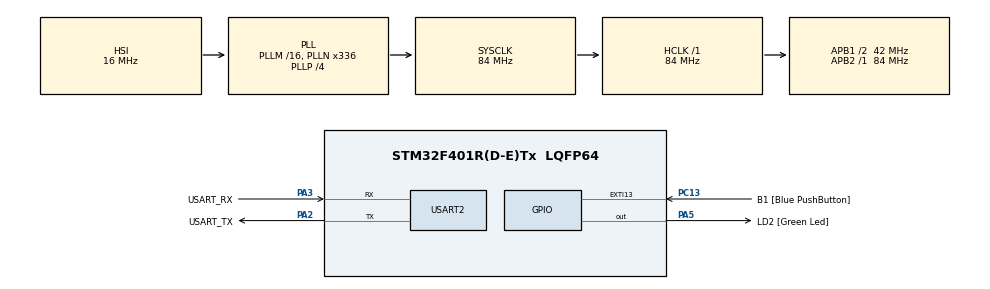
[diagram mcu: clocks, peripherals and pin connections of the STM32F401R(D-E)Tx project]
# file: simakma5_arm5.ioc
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Mcu.Family=STM32F4
Mcu.Name=STM32F401R(D-E)Tx
Mcu.Package=LQFP64
NVIC.PriorityGroup=NVIC_PRIORITYGROUP_0
PA13.GPIO_Label=TMS
PA13.Mode=Serial_Wire
PA13.Signal=SYS_JTMS-SWDIO
PA14.GPIO_Label=TCK
PA14.Mode=Serial_Wire
PA14.Signal=SYS_JTCK-SWCLK
PA2.GPIO_Label=USART_TX
PA2.GPIO_Mode=GPIO_MODE_AF_PP
PA2.GPIO_PuPd=GPIO_NOPULL
PA2.GPIO_Speed=GPIO_SPEED_FREQ_LOW
PA2.Mode=Asynchronous
PA2.Signal=USART2_TX
PA3.GPIO_Label=USART_RX
PA3.GPIO_Mode=GPIO_MODE_AF_PP
PA3.GPIO_PuPd=GPIO_NOPULL
PA3.GPIO_Speed=GPIO_SPEED_FREQ_LOW
PA3.Mode=Asynchronous
PA3.Signal=USART2_RX
PA5.GPIO_Label=LD2 [Green Led]
PA5.GPIO_Mode=GPIO_MODE_OUTPUT_PP
PA5.GPIO_PuPd=GPIO_NOPULL
PA5.GPIO_Speed=GPIO_SPEED_FREQ_LOW
PA5.Signal=GPIO_Output
PB3.GPIO_Label=SWO
PB3.Signal=SYS_JTDO-SWO
PC13-ANTI_TAMP.GPIO_Label=B1 [Blue PushButton]
PC13-ANTI_TAMP.GPIO_ModeDefaultEXTI=GPIO_MODE_IT_FALLING
PC13-ANTI_TAMP.GPIO_PuPd=GPIO_NOPULL
PC13-ANTI_TAMP.Signal=GPXTI13
PC14-OSC32_IN.Mode=LSE-External-Oscillator
PC14-OSC32_IN.Signal=RCC_OSC32_IN
PC15-OSC32_OUT.Mode=LSE-External-Oscillator
PC15-OSC32_OUT.Signal=RCC_OSC32_OUT
PH0\ -\ OSC_IN.Mode=HSE-External-Clock-Source
PH0\ -\ OSC_IN.Signal=RCC_OSC_IN
PH1\ -\ OSC_OUT.Mode=HSE-External-Clock-Source
PH1\ -\ OSC_OUT.Signal=RCC_OSC_OUT
ProjectManager.HeapSize=0x200
ProjectManager.StackSize=0x400
ProjectManager.TargetToolchain=STM32CubeIDE
RCC.48MHZClocksFreq_Value=48000000
RCC.AHBFreq_Value=84000000
RCC.APB1CLKDivider=RCC_HCLK_DIV2
RCC.APB1Freq_Value=42000000
RCC.APB1TimFreq_Value=84000000
RCC.APB2Freq_Value=84000000
RCC.APB2TimFreq_Value=84000000
RCC.CortexFreq_Value=84000000
RCC.HCLKFreq_Value=84000000
RCC.HSE_VALUE=8000000
RCC.HSI_VALUE=16000000
RCC.PLLN=336
RCC.PLLP=RCC_PLLP_DIV4
RCC.PLLQ=7
RCC.SYSCLKFreq_VALUE=84000000
RCC.SYSCLKSource=RCC_SYSCLKSOURCE_PLLCLK
RCC.VCOOutputFreq_Value=336000000
USART2.VirtualMode=VM_ASYNC
board=NUCLEO-F401RE

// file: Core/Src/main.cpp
/* USER CODE BEGIN Header */
/**
  ******************************************************************************
  * @file           : main.c
  * @brief          : Main program body
  ******************************************************************************
  * @attention
  *
  * Copyright (c) 2023 STMicroelectronics.
  * All rights reserved.
  *
  * This software is licensed under terms that can be found in the LICENSE file
  * in the root directory of this software component.
  * If no LICENSE file comes with this software, it is provided AS-IS.
  *
  ******************************************************************************
  */
/* USER CODE END Header */
#include "main.h"

/* USER CODE BEGIN Includes */
#include "lib.hpp"
/* USER CODE END Includes */

/* USER CODE BEGIN PD */
#define Vref		3.315	// reference voltage for ADC
#define ADC_period	500		// period of ADC conversion (ms)
/* USER CODE END PD */

UART_HandleTypeDef huart2;

/* USER CODE BEGIN PV */
volatile uint8_t data_7seg[4] = {0xFF, 0xFF, 0xFF, 0xFF};
	// data_7seg[0]	= naught digit (left)
	// data_7seg[1]	= first digit
	// data_7seg[2]	= second digit
	// data_7seg[3]	= third digit
volatile uint16_t ADC_data = 0;
	// ADC_data[15] = flag for finished conversion (new data)
	// ADC_data[0:11] = data from ADC

uint8_t dataTo7Seg[16] = {
	0b00000011,	// 0
	0b10011111,	// 1
	0b00100101,	// 2
	0b00001101,	// 3
	0b10011001,	// 4
	0b01001001,	// 5
	0b01000001,	// 6
	0b00011111,	// 7
	0b00000001,	// 8
	0b00001001,	// 9
	0b11111111,	// 10
	0b11111111,	// 11
	0b11111111,	// 12
	0b11111111,	// 13
	0b11111111,	// 14
	0b11111111	// 15
};
/* USER CODE END PV */

void SystemClock_Config(void);
static void MX_GPIO_Init(void);
static void MX_USART2_UART_Init(void);
/* USER CODE BEGIN PFP */
static void TIM3_Init(void);
extern "C" void TIM3_IRQHandler();
static void TIM2_Init(void);
static void ADC1_Init(void);
extern "C" void ADC_IRQHandler();
static void USART2_Init(void);
uint8_t USART2_read();
void USART2_write(uint8_t Char);
/* USER CODE END PFP */

int main(void)
{

  /* MCU Configuration--------------------------------------------------------*/

  /* Reset of all peripherals, Initializes the Flash interface and the Systick. */
  HAL_Init();

  /* Configure the system clock */
  SystemClock_Config();

  /* Initialize all configured peripherals */
  MX_GPIO_Init();
  MX_USART2_UART_Init();
  /* USER CODE BEGIN 2 */

  	/* Pin layout */
	// 7seg display:
	//	PA9	- data
	//	PA8	- clock
	//	PB5	- strobe
	//
	// UART:
	// 	PA2	- Tx
	//	PA3	- Rx
	//
	// ADC:
	//	PA0 - ADC
	//

	//	allow clock for GPIOA, GPIOB, USART2, TIM3, TIM2, ADC1
	RCC->AHB1ENR |= (0b1 << 0) | (0b1 << 1);				// GPIOA, GPIOB
	RCC->APB1ENR |= (0b1 << 0) | (0b1 << 1) | (0b1 << 17);	// TIM2, TIM3, USART2
	RCC->APB2ENR |= (0b1 << 8);								// ADC1

	// set CP10 and CP11 Full Access
	SCB->CPACR |= ((3UL << 10*2)|(3UL << 11*2));

  	/* GPIOx init */
	// GPIOA pins for display control
	setPinMode(GPIOA, 9, OUTPUT);	// PA9 - data
	setPinMode(GPIOA, 8, OUTPUT);	// PA8 - clock
	setPinMode(GPIOB, 5, OUTPUT);	// PB5 - strobe
	// GPIOA pins for UART communication
	setPinMode(GPIOA, 2, ALTERNATE);	// PA2 - Tx
	setPinMode(GPIOA, 3, ALTERNATE);	// PA3 - Rx
	setAlternateFunction(GPIOA, 2, 7);	// PA2 -> AF7 (USART2_TX)
	setAlternateFunction(GPIOA, 3, 7);	// PA3 -> AF7 (USART2_RX)
	// PA0 pin for ADC
	setPinMode(GPIOA, 0, ANALOG);		// PA0 - ADC
	// PA5 LED for debugging purposes
	setPinMode(GPIOA, 5, OUTPUT);

	TIM3_Init();
	TIM2_Init();

	/* ADC1 init */
	// 12bit, single conversion + trigger from TIM2 TRGO
	// APB2 Peripherals clock: 84MHz
	// max ADC clock: 36MHz -> 84MHz/4 = f_ADC = 21MHz
	// t_ADC ≈ 47.62 ns
	// t_sample = <0.1; 16> us	=>	(2.1; 336) cycles
	// SMPx -> 3/15/28/56/84/112/144/144 cycles
	// SMPx = 001 (15 cycles, 0.71 us)
	// SMPx = 010 (28 cycles, 1.33 us)
	ADC1_Init();

	/* USART2 init */
	// baud rate: 9600
	// data bits: 8
	// stop bits: 1
	// oversampling: 8
	// --> BRR = 42.000.000/(8*9.600) = 546.875
	USART2_Init();
  /* USER CODE END 2 */

  /* Infinite loop */
  while (1)
  {
	  if(getbit(ADC_data, 15)) {		// flag set = new data in ADC_data
		ADC_data &= 0xFFF;				// clear ADC_data flag, leaves 12 bits of data after conversion
		float mV_f = (float)ADC_data * (Vref / 4095.0) * 1000.0;	// 4095.0 = 2^12 - 1 where 12 is ADC1 resolution
																	// 1000.0 for conversion to mV
		uint16_t mV = (uint16_t)mV_f;	// whole number mV_f
		uint16_t BCD = 0;

		for(uint i=0; i<16; i++) {			// binary to BCD conversion
			/* decimal pre-correction */
			if( (BCD & 0x000F) > 0x0004 ) {	// decimal pre-correction of the naught digit (units)
				BCD += 0x0003;
			}
			if( (BCD & 0x00F0) > 0x0040) {	// decimal pre-correction of the first digit (tens)
				BCD += 0x0030;
			}
			if( (BCD & 0x0F00) > 0x0400) {	// decimal pre-correction of the second (hundreds)
				BCD += 0x0300;
			}
			BCD = (BCD << 1) | ((mV >> (15-i)) & 0b1);	// posuň BCD o jednu + nastav spodní bit na horní bit mV_f
		}

		// divide BCD into parts and sort them (index 0 = thousands of mV)
		uint8_t chars[4] = {0};
		for(uint i=0; i<4; i++) chars[3-i] = (BCD >> (4*i)) & 0b1111;

		// BCD to data_7seg conversion
		for(uint i=0; i<4; i++) data_7seg[i] = dataTo7Seg[chars[i]];

		// enable H segment
		data_7seg[0] &= ~(0b1);

		// BCD to ASCII conversion
		for(uint i=0; i<4; i++) chars[i] += 48;

		// send measured voltage to USART
		USART2_write(chars[0]);
		USART2_write('.');
		USART2_write(chars[1]);
		USART2_write(chars[2]);
		USART2_write(chars[3]);
		USART2_write(' ');
		USART2_write('V');
		USART2_write('\n');
	}
  }
}

void SystemClock_Config(void)
{
  RCC_OscInitTypeDef RCC_OscInitStruct = {0};
  RCC_ClkInitTypeDef RCC_ClkInitStruct = {0};

  /** Configure the main internal regulator output voltage
  */
  __HAL_RCC_PWR_CLK_ENABLE();
  __HAL_PWR_VOLTAGESCALING_CONFIG(PWR_REGULATOR_VOLTAGE_SCALE2);

  /** Initializes the RCC Oscillators according to the specified parameters
  * in the RCC_OscInitTypeDef structure.
  */
  RCC_OscInitStruct.OscillatorType = RCC_OSCILLATORTYPE_HSI;
  RCC_OscInitStruct.HSIState = RCC_HSI_ON;
  RCC_OscInitStruct.HSICalibrationValue = RCC_HSICALIBRATION_DEFAULT;
  RCC_OscInitStruct.PLL.PLLState = RCC_PLL_ON;
  RCC_OscInitStruct.PLL.PLLSource = RCC_PLLSOURCE_HSI;
  RCC_OscInitStruct.PLL.PLLM = 16;
  RCC_OscInitStruct.PLL.PLLN = 336;
  RCC_OscInitStruct.PLL.PLLP = RCC_PLLP_DIV4;
  RCC_OscInitStruct.PLL.PLLQ = 7;
  if (HAL_RCC_OscConfig(&RCC_OscInitStruct) != HAL_OK)
  {
    Error_Handler();
  }

  /** Initializes the CPU, AHB and APB buses clocks
  */
  RCC_ClkInitStruct.ClockType = RCC_CLOCKTYPE_HCLK|RCC_CLOCKTYPE_SYSCLK
                              |RCC_CLOCKTYPE_PCLK1|RCC_CLOCKTYPE_PCLK2;
  RCC_ClkInitStruct.SYSCLKSource = RCC_SYSCLKSOURCE_PLLCLK;
  RCC_ClkInitStruct.AHBCLKDivider = RCC_SYSCLK_DIV1;
  RCC_ClkInitStruct.APB1CLKDivider = RCC_HCLK_DIV2;
  RCC_ClkInitStruct.APB2CLKDivider = RCC_HCLK_DIV1;

  if (HAL_RCC_ClockConfig(&RCC_ClkInitStruct, FLASH_LATENCY_2) != HAL_OK)
  {
    Error_Handler();
  }
}

static void MX_USART2_UART_Init(void)
{

  huart2.Instance = USART2;
  huart2.Init.BaudRate = 115200;
  huart2.Init.WordLength = UART_WORDLENGTH_8B;
  huart2.Init.StopBits = UART_STOPBITS_1;
  huart2.Init.Parity = UART_PARITY_NONE;
  huart2.Init.Mode = UART_MODE_TX_RX;
  huart2.Init.HwFlowCtl = UART_HWCONTROL_NONE;
  huart2.Init.OverSampling = UART_OVERSAMPLING_16;
  if (HAL_UART_Init(&huart2) != HAL_OK)
  {
    Error_Handler();
  }

}

static void MX_GPIO_Init(void)
{
  GPIO_InitTypeDef GPIO_InitStruct = {0};

  /* GPIO Ports Clock Enable */
  __HAL_RCC_GPIOC_CLK_ENABLE();
  __HAL_RCC_GPIOH_CLK_ENABLE();
  __HAL_RCC_GPIOA_CLK_ENABLE();
  __HAL_RCC_GPIOB_CLK_ENABLE();

  /*Configure GPIO pin Output Level */
  HAL_GPIO_WritePin(LD2_GPIO_Port, LD2_Pin, GPIO_PIN_RESET);

  /*Configure GPIO pin : B1_Pin */
  GPIO_InitStruct.Pin = B1_Pin;
  GPIO_InitStruct.Mode = GPIO_MODE_IT_FALLING;
  GPIO_InitStruct.Pull = GPIO_NOPULL;
  HAL_GPIO_Init(B1_GPIO_Port, &GPIO_InitStruct);

  /*Configure GPIO pin : LD2_Pin */
  GPIO_InitStruct.Pin = LD2_Pin;
  GPIO_InitStruct.Mode = GPIO_MODE_OUTPUT_PP;
  GPIO_InitStruct.Pull = GPIO_NOPULL;
  GPIO_InitStruct.Speed = GPIO_SPEED_FREQ_LOW;
  HAL_GPIO_Init(LD2_GPIO_Port, &GPIO_InitStruct);

}

/* USER CODE BEGIN 4 */
// initialize TIM3 as a strobe clock
void TIM3_Init(void) {
	TIM3->DIER |= (0b1 << 0);	// interrupt enable
	TIM3->PSC = 0;				// prescaler value (f_TIM3 = 84 MHz)
	TIM3->CNT = 0;
	TIM3->ARR = 499;			// counter overflow with frequency (84*10^6)/([PSC+1]*[ARR+1]), currently 168kHz
	TIM3->CR1 |= (0b1 << 0);	// enable  TIM3
	TIM3->EGR |= (0b1 << 0); 	// update counter registers
	NVIC_EnableIRQ(TIM3_IRQn);
}

// strobe function
void TIM3_IRQHandler() {
	static uint digit = 0;		// segment choice (0 to 3)
	static uint count = 0;		// transmitted bit count (0 to 15)
	static uint16_t data = 0;	// bits sent to shift registers
	TIM3->SR &= ~(0b1 << 0); 	// clear Update Interrupt Flag

	if(count == 0) {			// trasmission's first bit: copy data_7seg[#] to data
		data = 0;	// clear for next operation
		// activate the 'digit' segment + copy already prepared data from data_7seg[digit]
		data = (0b1 << (15-digit)) | data_7seg[digit];
	}

	uint16_t bit = (data >> count) & 0b1;
	if(bit != 0) {
		GPIOA->BSRR |= (0b1 << 9);	// PA9 = '1'
	} else {
		GPIOA->BSRR |= (0b1 << 25);	// PA9 = '0'
	}
	GPIOA->BSRR |= (0b1 << 8);	// clock ↑
	__NOP();
	__NOP();
	__NOP();
	__NOP();
	__NOP();
	GPIOA->BSRR |= (0b1 << 24);	// clock ↓

	if(count == 15) {
		count = 0;
		// STROBE (PB5)
		GPIOB->BSRR |= (0b1 << 5);
		__NOP();
		__NOP();
		__NOP();
		__NOP();
		__NOP();
		GPIOB->BSRR |= (0b1 << 21);

		if(digit == 3) {
			digit = 0;
		} else {
			digit++;
		}
	} else {
		count++;
	}
}

// initialize TIM2 as ADC trigger
void TIM2_Init(void) {
	TIM2->PSC = (8400-1);
	TIM2->CNT = 0;
	TIM2->ARR = (ADC_period*10-1);
	TIM2->CR2 |= (0b010 << 4);
	TIM2->EGR |= (0b1 << 0);
	TIM2->CR1 |= (0b1 << 0);
}

static void ADC1_Init(void) {
	ADC->CCR |= (0b01 << 16);		// set ADC1 prescaler to /4
	ADC1->CR2 |= (0b0110 << 24);	// external event selector TIM2 TRGO
	ADC1->CR2 |= (0b01 << 28);		// event selector to rising edge
	ADC1->CR1 |= (0b1 << 5);		// EOCIE, (End of Conversion) IE
	ADC1->SQR1 &= ~(0b1111 << 20);	// clear L[3:0] - do just 1 conversion
	ADC1->SQR2 &= ~(0b11111 << 0);	// set 1st conversion in sequence to channel 0 (PA0)
	ADC1->SQR2 |= (4 << 0);			// set 1st conversion in sequence to channel 4 (PA4)
	ADC1->SMPR2 |= (0b010 << 0);	// set channel 0 sampling to 28 cycles (1.33 us at 21 MHz)
	ADC1->CR2 |= (0b1 << 0);		// enable ADC1
	NVIC_EnableIRQ(ADC_IRQn);
}

void ADC_IRQHandler() {
	// Interrupt from ADC1
	if(getbit(ADC1->SR, 1)) {
		// regular channel EOC
		if(getbit(ADC_data, 15)) writeBit(GPIOA, 5, 1);		// indicate overrun
		ADC_data = ADC1->DR | (0b1 << 15);					// write new data and set flag to '1'
		ADC1->SR &= ~(0b1 << 1);							// clear flag
	}
}

static void USART2_Init(void) {
	USART2->CR1 |= (0b1 << 13);		// enable USART
	USART2->CR1 |= (0b1 << 15);		// set oversampling rate (8)
	USART2->CR1 |= (0b1 << 3);		// enable transmitter
	// USART2->CR1 |= (0b1 << 2);	// enable receiver
	// USART2->CR1 |= (0b1 << 7);	// enable TXEIE (data sent)
	// USART2->CR1 |= (0b1 << 5);	// enable RXNEIE (data received)
	// USART2->CR1 |= (0b1 << 6);	// enable TCIE (end of data transmission, Tx/Rx)
	USART2->BRR = (546 << 4) + 12;	// 546 + 12/16 = 546.875
	// NVIC_EnableIRQ(USART2_IRQn);
}

uint8_t USART2_read() {
	while(!getbit(USART2->SR, 5));	// wait for char reception
	return USART2->DR;				// return received data
}

void USART2_write(uint8_t Char) {
	while(!getbit(USART2->SR, 7));	// wait for transmission buffer dump
	USART2->DR = Char;
}
/* USER CODE END 4 */

void Error_Handler(void)
{
  __disable_irq();
  while (1)
  {
  }
}
